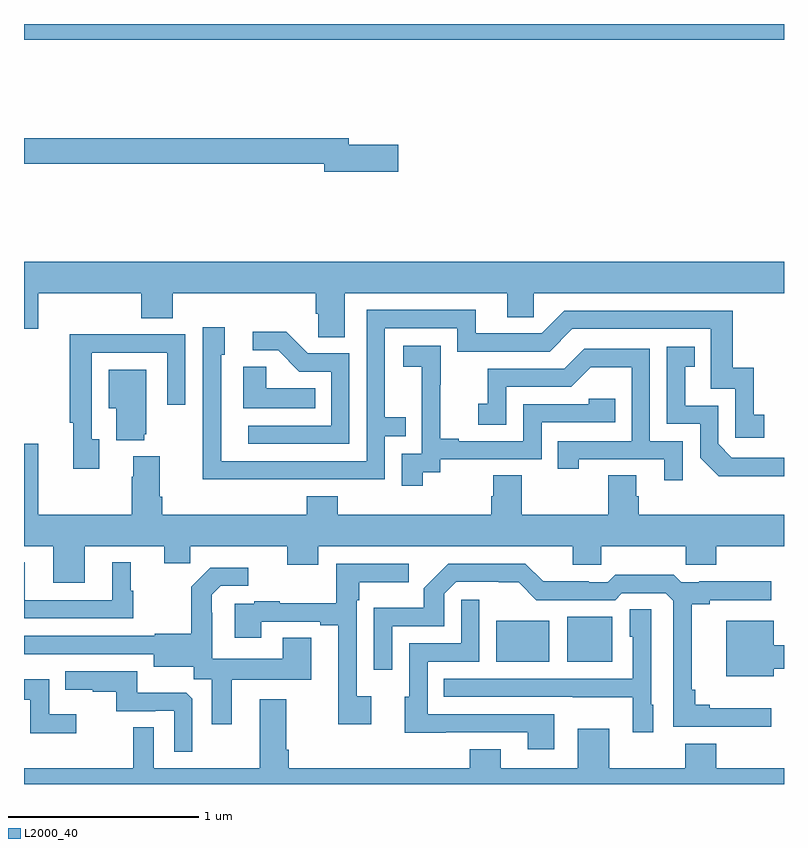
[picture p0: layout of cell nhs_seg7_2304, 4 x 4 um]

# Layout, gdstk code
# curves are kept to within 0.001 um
import gdstk
lib = gdstk.Library(unit=1e-6, precision=1e-09)
def R(c, l, rs):  # rectangles x0, y0, x1, y1
    for r in rs: c.add(gdstk.rectangle(r[:2], r[2:], *l))
def P(c, l, *ps):  # polygons
    for p in ps: c.add(gdstk.Polygon(p, *l))
L2000_40 = (2000, 40)

nhs_seg7_2304 = lib.new_cell('nhs_seg7_2304')
R(nhs_seg7_2304, L2000_40, [(263.486,1030.643,263.764,1030.858), (263.858,1030.643,264.097,1030.879), (261,1033.916,265,1034)])
P(nhs_seg7_2304, L2000_40, [(262.969,1033.364),(262.708,1033.364),(262.708,1033.4),(261,1033.4),(261,1033.264),(262.58,1033.264),(262.58,1033.222),(262.969,1033.222)],
  [(262.687,1032.584),(263.543,1032.584),(263.543,1032.457),(263.682,1032.457),(263.682,1032.584),(265,1032.584),(265,1032.748),(261,1032.748),(261,1032.396),(261.076,1032.396),(261.076,1032.584),(261.617,1032.584),(261.617,1032.451),(261.782,1032.451),(261.782,1032.584),(262.535,1032.584),(262.535,1032.475),(262.548,1032.475),(262.548,1032.352),(262.687,1032.352)],
  [(262.403,1031.604),(262.899,1031.604),(262.899,1031.829),(263.009,1031.829),(263.009,1031.93),(262.899,1031.93),(262.899,1032.399),(263.28,1032.399),(263.28,1032.276),(263.766,1032.276),(263.886,1032.396),(264.615,1032.396),(264.615,1032.081),(264.744,1032.081),(264.744,1031.823),(264.895,1031.823),(264.895,1031.943),(264.842,1031.943),(264.842,1032.19),(264.731,1032.19),(264.731,1032.492),(263.844,1032.492),(263.724,1032.372),(263.377,1032.372),(263.377,1032.495),(262.803,1032.495),(262.803,1031.7),(262.038,1031.7),(262.038,1032.258),(262.057,1032.258),(262.057,1032.403),(261.942,1032.403),(261.942,1031.909),(261.94,1031.909),(261.94,1031.603)],
  [(262.713,1032.267),(262.494,1032.267),(262.381,1032.38),(262.203,1032.38),(262.203,1032.282),(262.337,1032.282),(262.448,1032.171),(262.617,1032.171),(262.617,1031.886),(262.179,1031.886),(262.179,1031.79),(262.713,1031.79)],
  [(261.397,1031.814),(261.357,1031.814),(261.357,1032.27),(261.753,1032.27),(261.753,1031.997),(261.849,1031.997),(261.849,1032.366),(261.533,1032.366),(261.533,1032.368),(261.241,1032.368),(261.241,1031.902),(261.26,1031.902),(261.26,1031.658),(261.397,1031.658)],
  [(263.098,1031.641),(263.19,1031.641),(263.19,1031.709),(263.724,1031.709),(263.724,1031.904),(264.113,1031.904),(264.113,1032.027),(263.973,1032.027),(263.973,1032),(263.628,1032),(263.628,1031.805),(263.287,1031.805),(263.287,1031.818),(263.192,1031.818),(263.192,1032.101),(263.193,1032.101),(263.193,1032.307),(262.995,1032.307),(262.995,1032.197),(263.093,1032.197),(263.093,1031.969),(263.094,1031.969),(263.094,1031.739),(262.989,1031.739),(262.989,1031.571),(263.098,1031.571)],
  [(265,1031.718),(264.726,1031.718),(264.654,1031.79),(264.654,1031.991),(264.481,1031.991),(264.481,1032.195),(264.53,1032.195),(264.53,1032.301),(264.384,1032.301),(264.384,1031.895),(264.558,1031.895),(264.558,1031.718),(264.656,1031.621),(265,1031.621)],
  [(264.468,1031.805),(264.294,1031.805),(264.294,1032.291),(263.948,1032.291),(263.843,1032.186),(263.44,1032.186),(263.44,1032.001),(263.391,1032.001),(263.391,1031.892),(263.538,1031.892),(263.538,1032.09),(263.88,1032.09),(263.984,1032.194),(264.198,1032.194),(264.198,1031.805),(263.809,1031.805),(263.809,1031.658),(263.92,1031.658),(263.92,1031.709),(264.371,1031.709),(264.371,1031.598),(264.468,1031.598)],
  [(262.532,1032.082),(262.275,1032.082),(262.275,1032.197),(262.154,1032.197),(262.154,1031.978),(262.532,1031.978)],
  [(261.632,1031.841),(261.643,1031.841),(261.643,1032.181),(261.446,1032.181),(261.446,1031.978),(261.485,1031.978),(261.485,1031.81),(261.632,1031.81)],
  [(261.737,1031.162),(261.875,1031.162),(261.875,1031.252),(262.385,1031.252),(262.385,1031.153),(262.549,1031.153),(262.549,1031.252),(263.888,1031.252),(263.888,1031.154),(264.039,1031.154),(264.039,1031.252),(264.484,1031.252),(264.484,1031.154),(264.644,1031.154),(264.644,1031.252),(265,1031.252),(265,1031.416),(264.236,1031.416),(264.236,1031.514),(264.223,1031.514),(264.223,1031.624),(264.076,1031.624),(264.076,1031.416),(263.619,1031.416),(263.619,1031.624),(263.471,1031.624),(263.471,1031.514),(263.459,1031.514),(263.459,1031.416),(262.652,1031.416),(262.652,1031.515),(262.487,1031.515),(262.487,1031.416),(261.728,1031.416),(261.728,1031.512),(261.715,1031.512),(261.715,1031.725),(261.575,1031.725),(261.575,1031.618),(261.568,1031.618),(261.568,1031.416),(261.076,1031.416),(261.076,1031.791),(261,1031.791),(261,1031.252),(261.155,1031.252),(261.155,1031.058),(261.319,1031.058),(261.319,1031.252),(261.737,1031.252)],
  [(261.574,1031.016),(261.562,1031.016),(261.562,1031.167),(261.464,1031.167),(261.464,1030.968),(261.004,1030.968),(261.004,1031.167),(261,1031.167),(261,1030.872),(261.574,1030.872)],
  [(264.934,1030.399),(264.61,1030.399),(264.61,1030.418),(264.533,1030.418),(264.533,1030.495),(264.515,1030.495),(264.515,1030.946),(264.61,1030.946),(264.61,1030.968),(264.934,1030.968),(264.934,1031.066),(264.553,1031.066),(264.553,1031.061),(264.459,1031.061),(264.419,1031.101),(264.112,1031.101),(264.072,1031.061),(263.972,1031.061),(263.972,1031.066),(263.732,1031.066),(263.637,1031.16),(263.234,1031.16),(263.104,1031.03),(263.104,1030.927),(262.842,1030.927),(262.842,1030.602),(262.938,1030.602),(262.938,1030.83),(263.211,1030.83),(263.211,1031.001),(263.274,1031.064),(263.603,1031.063),(263.697,1030.968),(264.111,1030.968),(264.147,1031.004),(264.378,1031.004),(264.417,1030.965),(264.417,1030.302),(264.934,1030.302)],
  [(262.828,1030.462),(262.752,1030.462),(262.752,1030.967),(262.765,1030.967),(262.765,1031.063),(263.026,1031.063),(263.026,1031.16),(262.644,1031.16),(262.644,1030.952),(262.345,1030.952),(262.345,1030.963),(262.213,1030.963),(262.213,1030.95),(262.109,1030.95),(262.109,1030.77),(262.249,1030.77),(262.249,1030.854),(262.559,1030.854),(262.559,1030.836),(262.655,1030.836),(262.655,1030.314),(262.828,1030.314)],
  [(262.093,1030.55),(262.513,1030.55),(262.513,1030.769),(262.361,1030.769),(262.361,1030.66),(261.99,1030.66),(261.99,1030.901),(261.988,1030.901),(261.988,1030.996),(262.035,1031.043),(262.18,1031.043),(262.18,1031.137),(261.979,1031.137),(261.879,1031.037),(261.879,1030.792),(261.687,1030.792),(261.687,1030.779),(261,1030.779),(261,1030.682),(261.683,1030.683),(261.683,1030.616),(261.894,1030.616),(261.894,1030.552),(261.989,1030.552),(261.989,1030.314),(262.093,1030.314)],
  [(263.791,1030.368),(263.124,1030.368),(263.124,1030.644),(263.397,1030.644),(263.397,1030.969),(263.301,1030.969),(263.301,1030.74),(263.028,1030.74),(263.028,1030.458),(263.003,1030.458),(263.003,1030.271),(263.221,1030.271),(263.221,1030.272),(263.651,1030.272),(263.651,1030.182),(263.791,1030.182)],
  [(264.313,1030.416),(264.3,1030.416),(264.3,1030.919),(264.188,1030.919),(264.188,1030.776),(264.204,1030.776),(264.204,1030.554),(263.209,1030.554),(263.209,1030.458),(263.887,1030.458),(263.887,1030.457),(264.204,1030.457),(264.204,1030.272),(264.313,1030.272)],
  [(264.946,1030.607),(265,1030.607),(265,1030.729),(264.946,1030.729),(264.946,1030.858),(264.695,1030.858),(264.695,1030.568),(264.946,1030.568)],
  [(261.885,1030.449),(261.853,1030.481),(261.595,1030.481),(261.595,1030.593),(261.217,1030.593),(261.217,1030.496),(261.361,1030.496),(261.361,1030.485),(261.485,1030.485),(261.485,1030.383),(261.692,1030.383),(261.692,1030.386),(261.792,1030.386),(261.792,1030.169),(261.885,1030.169)],
  [(261.274,1030.366),(261.132,1030.366),(261.132,1030.551),(261,1030.551),(261,1030.443),(261.034,1030.443),(261.034,1030.268),(261.274,1030.268)],
  [(265,1030.084),(264.643,1030.084),(264.643,1030.213),(264.479,1030.213),(264.479,1030.084),(264.079,1030.084),(264.079,1030.291),(263.915,1030.291),(263.915,1030.084),(263.509,1030.084),(263.509,1030.183),(263.345,1030.183),(263.345,1030.084),(262.394,1030.084),(262.394,1030.18),(262.381,1030.18),(262.381,1030.447),(262.241,1030.447),(262.241,1030.084),(261.684,1030.084),(261.684,1030.298),(261.576,1030.298),(261.576,1030.084),(261,1030.084),(261,1030),(265,1030)])

lib.write_gds('nhs_seg7_2304.gds')
